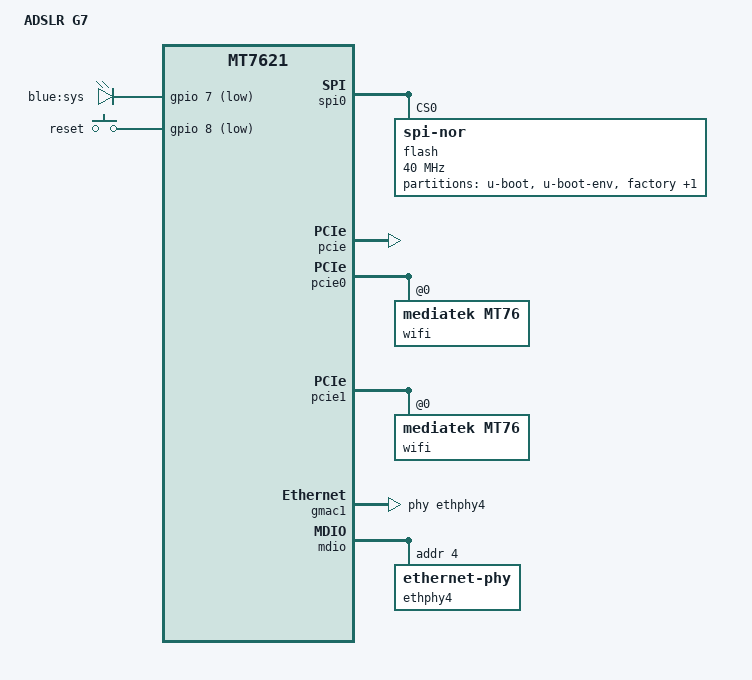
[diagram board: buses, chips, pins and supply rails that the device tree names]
// SPDX-License-Identifier: GPL-2.0-or-later OR MIT

#include "mt7621.dtsi"

#include <dt-bindings/gpio/gpio.h>
#include <dt-bindings/input/input.h>

/ {
	compatible = "adslr,g7", "mediatek,mt7621-soc";
	model = "ADSLR G7";

	aliases {
		led-boot = &led_sys;
		led-failsafe = &led_sys;
		led-running = &led_sys;
		led-upgrade = &led_sys;
		label-mac-device = &gmac0;
	};

	leds {
		compatible = "gpio-leds";

		led_sys: sys {
			label = "blue:sys";
			gpios = <&gpio 7 GPIO_ACTIVE_LOW>;
		};
	};

	keys {
		compatible = "gpio-keys";

		reset {
			label = "reset";
			gpios = <&gpio 8 GPIO_ACTIVE_LOW>;
			debounce-interval = <60>;
			linux,code = <KEY_RESTART>;
		};
	};
};

&spi0 {
	status = "okay";

	flash@0 {
		compatible = "jedec,spi-nor";
		reg = <0>;
		spi-max-frequency = <40000000>;

		partitions {
			compatible = "fixed-partitions";
			#address-cells = <1>;
			#size-cells = <1>;

			partition@0 {
				label = "u-boot";
				reg = <0x0 0x30000>;
				read-only;
			};

			partition@30000 {
				label = "u-boot-env";
				reg = <0x30000 0x10000>;
				read-only;
			};

			factory: partition@40000 {
				label = "factory";
				reg = <0x40000 0x10000>;
				read-only;
			};

			partition@50000 {
				compatible = "denx,uimage";
				label = "firmware";
				reg = <0x50000 0xfb0000>;
			};
		};
	};
};

&pcie {
	status = "okay";
};

&pcie0 {
	wifi@0,0 {
		compatible = "mediatek,mt76";
		reg = <0x0000 0 0 0 0>;
		mediatek,mtd-eeprom = <&factory 0x0000>;
		ieee80211-freq-limit = <2400000 2500000>;
	};
};

&pcie1 {
	wifi@0,0 {
		compatible = "mediatek,mt76";
		reg = <0x0000 0 0 0 0>;
		mediatek,mtd-eeprom = <&factory 0x8000>;
		ieee80211-freq-limit = <5000000 6000000>;
	};
};

&gmac0 {
	mtd-mac-address = <&factory 0xe00c>;
};

&gmac1 {
	status = "okay";
	label = "wan";
	phy-handle = <&ethphy4>;
	mtd-mac-address = <&factory 0xe00c>;
};

&mdio {
	ethphy4: ethernet-phy@4 {
		reg = <4>;
	};
};

&switch0 {
	ports {
		port@0 {
			status = "okay";
			label = "lan1";
		};

		port@1 {
			status = "okay";
			label = "lan2";
		};

		port@2 {
			status = "okay";
			label = "lan3";
		};

		port@3 {
			status = "okay";
			label = "lan4";
		};
	};
};

&state_default {
	gpio {
		groups = "i2c", "uart3", "wdt";
		function = "gpio";
	};
};
